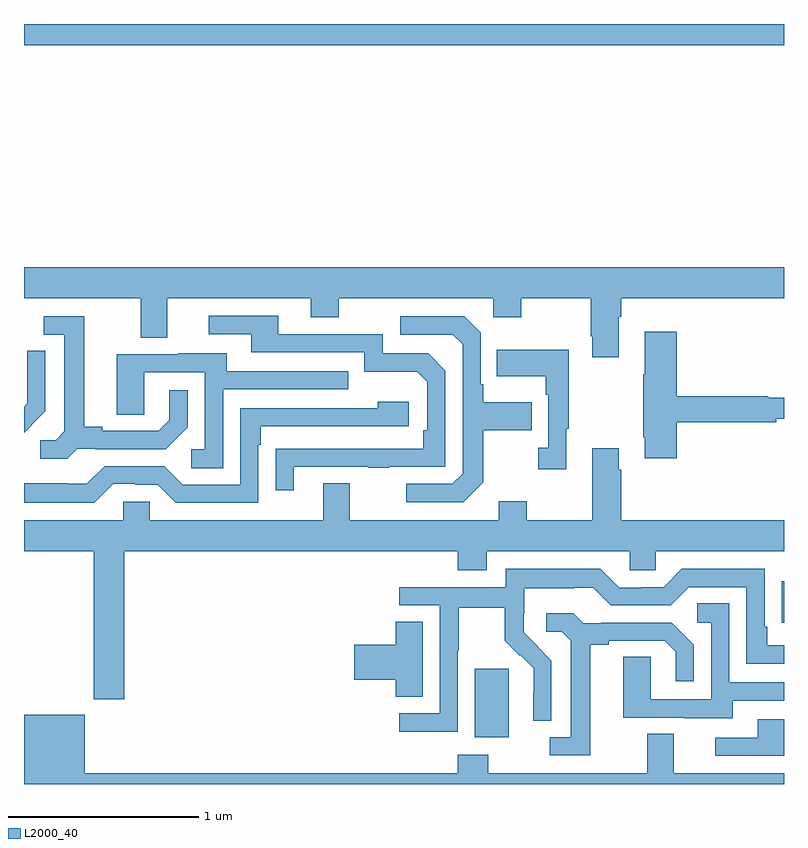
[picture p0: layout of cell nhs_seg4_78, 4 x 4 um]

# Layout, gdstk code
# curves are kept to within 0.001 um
import gdstk
lib = gdstk.Library(unit=1e-6, precision=1e-09)
def R(c, l, rs):  # rectangles x0, y0, x1, y1
    for r in rs: c.add(gdstk.rectangle(r[:2], r[2:], *l))
def P(c, l, *ps):  # polygons
    for p in ps: c.add(gdstk.Polygon(p, *l))
L2000_40 = (2000, 40)

nhs_seg4_78 = lib.new_cell('nhs_seg4_78')
R(nhs_seg4_78, L2000_40, [(115.373,825.146,115.552,825.507), (116.989,825.748,117,825.967), (113,828.788,117,828.9)])
P(nhs_seg4_78, L2000_40, [(116.131,827.36),(116.144,827.36),(116.144,827.456),(117,827.456),(117,827.62),(113,827.62),(113,827.456),(113.615,827.456),(113.615,827.248),(113.755,827.248),(113.755,827.456),(114.509,827.456),(114.509,827.357),(114.657,827.357),(114.657,827.456),(115.47,827.456),(115.47,827.357),(115.617,827.357),(115.617,827.456),(115.984,827.456),(115.984,827.257),(115.991,827.257),(115.991,827.145),(116.131,827.145)],
  [(114.421,826.569),(114.811,826.569),(114.811,826.564),(114.923,826.564),(114.923,826.569),(115.218,826.569),(115.218,827.076),(115.128,827.166),(114.888,827.166),(114.888,827.268),(114.337,827.268),(114.337,827.364),(113.973,827.364),(113.973,827.268),(114.197,827.268),(114.197,827.172),(114.792,827.172),(114.792,827.069),(115.069,827.069),(115.122,827.016),(115.122,826.762),(115.102,826.762),(115.102,826.665),(114.325,826.664),(114.325,826.446),(114.421,826.446)],
  [(115.417,826.489),(115.417,826.762),(115.673,826.762),(115.673,826.909),(115.417,826.909),(115.417,827.005),(115.404,827.005),(115.404,827.274),(115.317,827.361),(114.981,827.361),(114.981,827.265),(115.257,827.265),(115.308,827.214),(115.308,826.533),(115.254,826.479),(115.011,826.479),(115.011,826.383),(115.311,826.383)],
  [(113.28,826.665),(113.374,826.665),(113.374,826.662),(113.746,826.662),(113.862,826.778),(113.862,826.972),(113.765,826.972),(113.765,826.815),(113.708,826.758),(113.413,826.758),(113.413,826.781),(113.317,826.781),(113.317,827.361),(113.103,827.361),(113.103,827.265),(113.213,827.265),(113.213,826.757),(113.166,826.71),(113.085,826.71),(113.085,826.613),(113.228,826.613)],
  [(116.435,826.804),(116.96,826.804),(116.96,826.823),(117,826.823),(117,826.933),(116.918,826.933),(116.918,826.94),(116.435,826.94),(116.435,827.281),(116.267,827.281),(116.267,827.057),(116.26,827.057),(116.26,826.726),(116.267,826.726),(116.267,826.614),(116.435,826.614)],
  [(115.855,826.769),(115.867,826.769),(115.867,827.185),(115.489,827.185),(115.489,827.045),(115.746,827.045),(115.746,826.949),(115.758,826.949),(115.758,826.67),(115.707,826.67),(115.707,826.557),(115.855,826.557)],
  [(113.04,826.788),(113.039,826.789),(113.112,826.862),(113.112,827.18),(113.016,827.18),(113.016,827.026),(113.018,827.026),(113.018,826.904),(113,826.886),(113,826.748)],
  [(114.048,826.977),(114.707,826.977),(114.707,827.073),(114.067,827.073),(114.067,827.167),(113.813,827.167),(113.813,827.163),(113.489,827.163),(113.489,826.843),(113.634,826.843),(113.634,827.067),(113.952,827.067),(113.952,826.662),(113.88,826.662),(113.88,826.561),(114.048,826.561)],
  [(113.469,826.479),(113.585,826.479),(113.585,826.476),(113.703,826.476),(113.799,826.38),(114.234,826.38),(114.234,826.685),(114.247,826.685),(114.247,826.782),(115.024,826.782),(115.024,826.912),(114.863,826.912),(114.863,826.878),(114.138,826.878),(114.138,826.476),(113.835,826.476),(113.739,826.572),(113.424,826.572),(113.331,826.479),(113.231,826.479),(113.231,826.483),(113,826.483),(113,826.379),(113.369,826.379)],
  [(113.528,826.124),(115.283,826.124),(115.283,826.025),(115.435,826.025),(115.435,826.124),(116.187,826.124),(116.187,826.026),(116.325,826.026),(116.325,826.124),(117,826.124),(117,826.288),(116.144,826.288),(116.144,826.553),(116.131,826.553),(116.131,826.666),(115.991,826.666),(115.991,826.288),(115.647,826.288),(115.647,826.387),(115.499,826.387),(115.499,826.288),(114.715,826.288),(114.715,826.483),(114.575,826.483),(114.575,826.288),(113.661,826.288),(113.661,826.386),(113.523,826.386),(113.523,826.288),(113,826.288),(113,826.124),(113.368,826.124),(113.368,825.345),(113.528,825.345)],
  [(115.284,825.604),(115.287,825.604),(115.287,825.828),(115.531,825.828),(115.531,825.653),(115.608,825.576),(115.611,825.579),(115.682,825.509),(115.682,825.386),(115.68,825.386),(115.68,825.232),(115.776,825.232),(115.776,825.55),(115.63,825.698),(115.63,825.795),(115.632,825.795),(115.632,825.929),(115.895,825.929),(115.895,825.933),(115.995,825.933),(116.088,825.84),(116.403,825.84),(116.499,825.936),(116.802,825.936),(116.802,825.534),(117,825.534),(117,825.63),(116.911,825.63),(116.911,825.727),(116.898,825.727),(116.898,826.032),(116.463,826.032),(116.367,825.936),(116.249,825.936),(116.249,825.933),(116.133,825.933),(116.033,826.033),(115.536,826.033),(115.536,825.936),(114.975,825.936),(114.975,825.84),(115.188,825.84),(115.188,825.273),(114.975,825.273),(114.975,825.175),(115.284,825.175)],
  [(116.731,825.339),(117,825.339),(117,825.435),(116.712,825.435),(116.712,825.851),(116.544,825.851),(116.544,825.75),(116.616,825.75),(116.616,825.345),(116.298,825.345),(116.298,825.569),(116.153,825.569),(116.153,825.249),(116.477,825.249),(116.477,825.245),(116.731,825.245)],
  [(115.981,825.632),(116.077,825.632),(116.077,825.654),(116.372,825.654),(116.429,825.597),(116.429,825.441),(116.526,825.441),(116.526,825.634),(116.41,825.75),(116.038,825.75),(116.038,825.747),(115.944,825.747),(115.892,825.799),(115.749,825.799),(115.749,825.702),(115.83,825.702),(115.877,825.655),(115.877,825.147),(115.767,825.147),(115.767,825.051),(115.981,825.051)],
  [(115.099,825.755),(114.956,825.755),(114.956,825.632),(114.738,825.632),(114.738,825.449),(114.956,825.449),(114.956,825.358),(115.099,825.358)],
  [(117,824.956),(116.419,824.956),(116.419,825.164),(116.279,825.164),(116.279,824.956),(115.443,824.956),(115.443,825.055),(115.283,825.055),(115.283,824.956),(113.32,824.956),(113.32,825.265),(113,825.265),(113,824.9),(117,824.9)],
  [(117,825.24),(116.861,825.24),(116.861,825.144),(116.637,825.144),(116.637,825.048),(117,825.048)])

lib.write_gds('nhs_seg4_78.gds')
